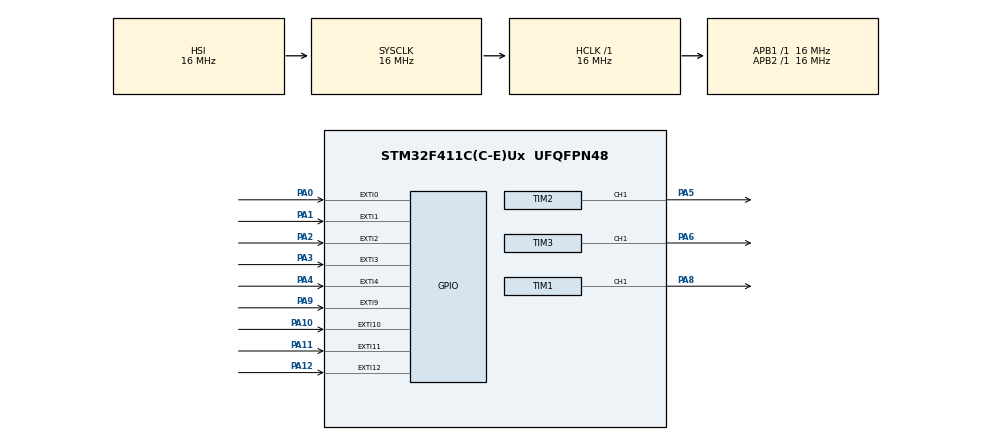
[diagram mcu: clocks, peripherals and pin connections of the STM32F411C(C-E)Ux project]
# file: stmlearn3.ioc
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Mcu.Family=STM32F4
Mcu.Name=STM32F411C(C-E)Ux
Mcu.Package=UFQFPN48
NVIC.EXTI0_IRQn=true\:0\:0\:false\:false\:true\:true\:true\:true
NVIC.EXTI15_10_IRQn=true\:0\:0\:false\:false\:true\:true\:true\:true
NVIC.EXTI1_IRQn=true\:0\:0\:false\:false\:true\:true\:true\:true
NVIC.EXTI2_IRQn=true\:0\:0\:false\:false\:true\:true\:true\:true
NVIC.EXTI3_IRQn=true\:0\:0\:false\:false\:true\:true\:true\:true
NVIC.EXTI4_IRQn=true\:0\:0\:false\:false\:true\:true\:true\:true
NVIC.EXTI9_5_IRQn=true\:0\:0\:false\:false\:true\:true\:true\:true
NVIC.PriorityGroup=NVIC_PRIORITYGROUP_4
PA0-WKUP.GPIO_ModeDefaultEXTI=GPIO_MODE_IT_RISING_FALLING
PA0-WKUP.GPIO_PuPd=GPIO_PULLUP
PA0-WKUP.Signal=GPXTI0
PA1.GPIO_ModeDefaultEXTI=GPIO_MODE_IT_RISING_FALLING
PA1.GPIO_PuPd=GPIO_PULLUP
PA1.Signal=GPXTI1
PA10.GPIO_ModeDefaultEXTI=GPIO_MODE_IT_FALLING
PA10.GPIO_PuPd=GPIO_PULLUP
PA10.Signal=GPXTI10
PA11.GPIO_ModeDefaultEXTI=GPIO_MODE_IT_RISING_FALLING
PA11.GPIO_PuPd=GPIO_PULLUP
PA11.Signal=GPXTI11
PA12.GPIO_ModeDefaultEXTI=GPIO_MODE_IT_RISING_FALLING
PA12.GPIO_PuPd=GPIO_PULLUP
PA12.Signal=GPXTI12
PA13.Mode=Serial_Wire
PA13.Signal=SYS_JTMS-SWDIO
PA14.Mode=Serial_Wire
PA14.Signal=SYS_JTCK-SWCLK
PA2.GPIO_ModeDefaultEXTI=GPIO_MODE_IT_RISING_FALLING
PA2.GPIO_PuPd=GPIO_PULLUP
PA2.Signal=GPXTI2
PA3.GPIO_ModeDefaultEXTI=GPIO_MODE_IT_RISING_FALLING
PA3.GPIO_PuPd=GPIO_PULLUP
PA3.Signal=GPXTI3
PA4.GPIO_ModeDefaultEXTI=GPIO_MODE_IT_RISING_FALLING
PA4.GPIO_PuPd=GPIO_PULLUP
PA4.Signal=GPXTI4
PA5.Signal=S_TIM2_CH1_ETR
PA6.Signal=S_TIM3_CH1
PA8.Signal=S_TIM1_CH1
PA9.GPIO_ModeDefaultEXTI=GPIO_MODE_IT_RISING_FALLING
PA9.GPIO_PuPd=GPIO_PULLUP
PA9.Signal=GPXTI9
ProjectManager.HeapSize=0x200
ProjectManager.StackSize=0x400
ProjectManager.TargetToolchain=MDK-ARM V5.32
RCC.AHBFreq_Value=16000000
RCC.APB1Freq_Value=16000000
RCC.APB2Freq_Value=16000000
RCC.CortexFreq_Value=16000000
RCC.HSE_VALUE=25000000
RCC.HSI_VALUE=16000000
RCC.LSE_VALUE=32768
RCC.SYSCLKFreq_VALUE=16000000
RCC.VCOOutputFreq_Value=192000000
SH.S_TIM1_CH1.0=TIM1_CH1,PWM Generation1 CH1
SH.S_TIM2_CH1_ETR.0=TIM2_CH1,PWM Generation1 CH1
SH.S_TIM3_CH1.0=TIM3_CH1,PWM Generation1 CH1
TIM1.AutoReloadPreload=TIM_AUTORELOAD_PRELOAD_ENABLE
TIM1.Channel-PWM\ Generation1\ CH1=TIM_CHANNEL_1
TIM1.Period=999
TIM1.Prescaler=15
TIM1.Pulse-PWM\ Generation1\ CH1=500
TIM2.AutoReloadPreload=TIM_AUTORELOAD_PRELOAD_ENABLE
TIM2.Channel-PWM\ Generation1\ CH1=TIM_CHANNEL_1
TIM2.Period=999
TIM2.Prescaler=15
TIM2.Pulse-PWM\ Generation1\ CH1=500
TIM3.AutoReloadPreload=TIM_AUTORELOAD_PRELOAD_ENABLE
TIM3.Channel-PWM\ Generation1\ CH1=TIM_CHANNEL_1
TIM3.Period=999
TIM3.Prescaler=15
TIM3.Pulse-PWM\ Generation1\ CH1=500
VP_TIM1_VS_ClockSourceINT.Mode=Internal
VP_TIM2_VS_ClockSourceINT.Mode=Internal
VP_TIM3_VS_ClockSourceINT.Mode=Internal
board=custom

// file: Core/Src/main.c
/* USER CODE BEGIN Header */
/**
  ******************************************************************************
  * @file           : main.c
  * @brief          : Main program body
  ******************************************************************************
  * @attention
  *
  * Copyright (c) 2026 STMicroelectronics.
  * All rights reserved.
  *
  * This software is licensed under terms that can be found in the LICENSE file
  * in the root directory of this software component.
  * If no LICENSE file comes with this software, it is provided AS-IS.
  *
  ******************************************************************************
  */
/* USER CODE END Header */
#include "main.h"

TIM_HandleTypeDef htim1;
TIM_HandleTypeDef htim2;
TIM_HandleTypeDef htim3;

/* USER CODE BEGIN PV */
int p=0;
int q=0;
/* USER CODE END PV */

void SystemClock_Config(void);
static void MX_GPIO_Init(void);
static void MX_TIM1_Init(void);
static void MX_TIM2_Init(void);
static void MX_TIM3_Init(void);

/* USER CODE BEGIN 0 */
//by gala
void Buzzer_SetFreq(uint16_t freq , TIM_HandleTypeDef *htim)
{
    if (freq == 0) {
        //
        HAL_TIM_PWM_Stop(htim,TIM_CHANNEL_1);
        return;
    }
    // 1.
    uint32_t arr = 1000000 / freq;
    // 2.
    if (arr > 65536) arr = 65536;
    if (arr < 2) arr = 2;
    // 3.
    __HAL_TIM_SET_AUTORELOAD(htim, arr - 1);
    // 4.
    __HAL_TIM_SET_COMPARE(htim,TIM_CHANNEL_1, arr / 2);

//    HAL_TIM_PWM_Start(htim, TIM_CHANNEL_1);
}

void HAL_GPIO_EXTI_Callback(uint16_t GPIO_Pin) {

	uint16_t m = GPIO_Pin;
	switch (GPIO_Pin) {
		case GPIO_PIN_12:
			q++;
			if (q>=2048) {q=q-2048;}
			break;
		case GPIO_PIN_10:
			p++;
			if (p>=2048) {p=p-2048;}
			break;
		case GPIO_PIN_0:
		case GPIO_PIN_1:
		case GPIO_PIN_2:
		case GPIO_PIN_3:
		case GPIO_PIN_4:
		case GPIO_PIN_9:
		case GPIO_PIN_11:
			if (p%2==0 ){
				switch (GPIO_Pin) {
					case GPIO_PIN_0:
						Buzzer_SetFreq(523 , &htim1);
						Buzzer_SetFreq(330 , &htim2);
						Buzzer_SetFreq(392 , &htim3);
						break;
					case GPIO_PIN_1:
						Buzzer_SetFreq(294 , &htim1);
						Buzzer_SetFreq(349 , &htim2);
						Buzzer_SetFreq(440 , &htim3);
						break;
					case GPIO_PIN_2:
						Buzzer_SetFreq(330 , &htim1);
						Buzzer_SetFreq(392 , &htim2);
						Buzzer_SetFreq(494 , &htim3);
						break;
					case GPIO_PIN_3:
						Buzzer_SetFreq(349 , &htim1);
						Buzzer_SetFreq(440 , &htim2);
						Buzzer_SetFreq(523 , &htim3);
						break;
					case GPIO_PIN_4:
						Buzzer_SetFreq(392 , &htim1);
						Buzzer_SetFreq(494 , &htim2);
						Buzzer_SetFreq(587 , &htim3);
						break;
					case GPIO_PIN_9:
						Buzzer_SetFreq(440 , &htim1);
						Buzzer_SetFreq(262 , &htim2);
						Buzzer_SetFreq(330 , &htim3);
						break;
					case GPIO_PIN_11:
						Buzzer_SetFreq(494 , &htim1);
						Buzzer_SetFreq(294 , &htim2);
						Buzzer_SetFreq(370 , &htim3);
						break;
					default:
						break;

				}

			}
			else {
				if( q%2==0 ) {
					switch (GPIO_Pin) {
						case GPIO_PIN_0:
							Buzzer_SetFreq(262 , &htim1);
							Buzzer_SetFreq(262 , &htim2);
							Buzzer_SetFreq(262 , &htim3);
							break;
						case GPIO_PIN_1:
							Buzzer_SetFreq(294 , &htim1);
							Buzzer_SetFreq(294 , &htim2);
							Buzzer_SetFreq(294 , &htim3);
							break;
						case GPIO_PIN_2:
							Buzzer_SetFreq(330 , &htim1);
							Buzzer_SetFreq(330 , &htim2);
							Buzzer_SetFreq(330 , &htim3);
							break;
						case GPIO_PIN_3:
							Buzzer_SetFreq(349 , &htim1);
							Buzzer_SetFreq(349 , &htim2);
							Buzzer_SetFreq(349 , &htim3);
							break;
						case GPIO_PIN_4:
							Buzzer_SetFreq(392 , &htim1);
							Buzzer_SetFreq(392 , &htim2);
							Buzzer_SetFreq(392 , &htim3);
							break;
						case GPIO_PIN_9:
							Buzzer_SetFreq(440 , &htim1);
							Buzzer_SetFreq(440 , &htim2);
							Buzzer_SetFreq(440 , &htim3);
							break;
						case GPIO_PIN_11:
							Buzzer_SetFreq(494 , &htim1);
							Buzzer_SetFreq(494 , &htim2);
							Buzzer_SetFreq(494 , &htim3);
							break;
						default:
							break;

					}
				}
				else {
					switch (GPIO_Pin) {
						case GPIO_PIN_0:
							Buzzer_SetFreq(523 , &htim1);
							Buzzer_SetFreq(523 , &htim2);
							Buzzer_SetFreq(523 , &htim3);
							break;
						case GPIO_PIN_1:
							Buzzer_SetFreq(587 , &htim1);
							Buzzer_SetFreq(587 , &htim2);
							Buzzer_SetFreq(587 , &htim3);
							break;
						case GPIO_PIN_2:
							Buzzer_SetFreq(659 , &htim1);
							Buzzer_SetFreq(659 , &htim2);
							Buzzer_SetFreq(659 , &htim3);
							break;
						case GPIO_PIN_3:
							Buzzer_SetFreq(699 , &htim1);
							Buzzer_SetFreq(699 , &htim2);
							Buzzer_SetFreq(699 , &htim3);
							break;
						case GPIO_PIN_4:
							Buzzer_SetFreq(784 , &htim1);
							Buzzer_SetFreq(784 , &htim2);
							Buzzer_SetFreq(784 , &htim3);
							break;
						case GPIO_PIN_9:
							Buzzer_SetFreq(880 , &htim1);
							Buzzer_SetFreq(880 , &htim2);
							Buzzer_SetFreq(880 , &htim3);
							break;
						case GPIO_PIN_11:
							Buzzer_SetFreq(989 , &htim1);
							Buzzer_SetFreq(989 , &htim2);
							Buzzer_SetFreq(989 , &htim3);
							break;
						default:
							break;

					}
				}

			}

			if (HAL_GPIO_ReadPin(GPIOA,m) == GPIO_PIN_RESET) {
					HAL_TIM_PWM_Start(&htim1, TIM_CHANNEL_1);
					HAL_TIM_PWM_Start(&htim2, TIM_CHANNEL_1);
					HAL_TIM_PWM_Start(&htim3, TIM_CHANNEL_1);
				}
			else {
					HAL_TIM_PWM_Stop(&htim1, TIM_CHANNEL_1);
					HAL_TIM_PWM_Stop(&htim2, TIM_CHANNEL_1);
					HAL_TIM_PWM_Stop(&htim3, TIM_CHANNEL_1);
				}
			break;

	}

}

/* USER CODE END 0 */

int main(void)
{

  /* MCU Configuration--------------------------------------------------------*/

  /* Reset of all peripherals, Initializes the Flash interface and the Systick. */
  HAL_Init();

  /* Configure the system clock */
  SystemClock_Config();

  /* Initialize all configured peripherals */
  MX_GPIO_Init();
  MX_TIM1_Init();
  MX_TIM2_Init();
  MX_TIM3_Init();

  /* Infinite loop */
  while (1)
  {

  }
}

void SystemClock_Config(void)
{
  RCC_OscInitTypeDef RCC_OscInitStruct = {0};
  RCC_ClkInitTypeDef RCC_ClkInitStruct = {0};

  /** Configure the main internal regulator output voltage
  */
  __HAL_RCC_PWR_CLK_ENABLE();
  __HAL_PWR_VOLTAGESCALING_CONFIG(PWR_REGULATOR_VOLTAGE_SCALE1);

  /** Initializes the RCC Oscillators according to the specified parameters
  * in the RCC_OscInitTypeDef structure.
  */
  RCC_OscInitStruct.OscillatorType = RCC_OSCILLATORTYPE_HSI;
  RCC_OscInitStruct.HSIState = RCC_HSI_ON;
  RCC_OscInitStruct.HSICalibrationValue = RCC_HSICALIBRATION_DEFAULT;
  RCC_OscInitStruct.PLL.PLLState = RCC_PLL_NONE;
  if (HAL_RCC_OscConfig(&RCC_OscInitStruct) != HAL_OK)
  {
    Error_Handler();
  }

  /** Initializes the CPU, AHB and APB buses clocks
  */
  RCC_ClkInitStruct.ClockType = RCC_CLOCKTYPE_HCLK|RCC_CLOCKTYPE_SYSCLK
                              |RCC_CLOCKTYPE_PCLK1|RCC_CLOCKTYPE_PCLK2;
  RCC_ClkInitStruct.SYSCLKSource = RCC_SYSCLKSOURCE_HSI;
  RCC_ClkInitStruct.AHBCLKDivider = RCC_SYSCLK_DIV1;
  RCC_ClkInitStruct.APB1CLKDivider = RCC_HCLK_DIV1;
  RCC_ClkInitStruct.APB2CLKDivider = RCC_HCLK_DIV1;

  if (HAL_RCC_ClockConfig(&RCC_ClkInitStruct, FLASH_LATENCY_0) != HAL_OK)
  {
    Error_Handler();
  }
}

static void MX_TIM1_Init(void)
{

  TIM_ClockConfigTypeDef sClockSourceConfig = {0};
  TIM_MasterConfigTypeDef sMasterConfig = {0};
  TIM_OC_InitTypeDef sConfigOC = {0};
  TIM_BreakDeadTimeConfigTypeDef sBreakDeadTimeConfig = {0};

  htim1.Instance = TIM1;
  htim1.Init.Prescaler = 15;
  htim1.Init.CounterMode = TIM_COUNTERMODE_UP;
  htim1.Init.Period = 999;
  htim1.Init.ClockDivision = TIM_CLOCKDIVISION_DIV1;
  htim1.Init.RepetitionCounter = 0;
  htim1.Init.AutoReloadPreload = TIM_AUTORELOAD_PRELOAD_ENABLE;
  if (HAL_TIM_Base_Init(&htim1) != HAL_OK)
  {
    Error_Handler();
  }
  sClockSourceConfig.ClockSource = TIM_CLOCKSOURCE_INTERNAL;
  if (HAL_TIM_ConfigClockSource(&htim1, &sClockSourceConfig) != HAL_OK)
  {
    Error_Handler();
  }
  if (HAL_TIM_PWM_Init(&htim1) != HAL_OK)
  {
    Error_Handler();
  }
  sMasterConfig.MasterOutputTrigger = TIM_TRGO_RESET;
  sMasterConfig.MasterSlaveMode = TIM_MASTERSLAVEMODE_DISABLE;
  if (HAL_TIMEx_MasterConfigSynchronization(&htim1, &sMasterConfig) != HAL_OK)
  {
    Error_Handler();
  }
  sConfigOC.OCMode = TIM_OCMODE_PWM1;
  sConfigOC.Pulse = 500;
  sConfigOC.OCPolarity = TIM_OCPOLARITY_HIGH;
  sConfigOC.OCNPolarity = TIM_OCNPOLARITY_HIGH;
  sConfigOC.OCFastMode = TIM_OCFAST_DISABLE;
  sConfigOC.OCIdleState = TIM_OCIDLESTATE_RESET;
  sConfigOC.OCNIdleState = TIM_OCNIDLESTATE_RESET;
  if (HAL_TIM_PWM_ConfigChannel(&htim1, &sConfigOC, TIM_CHANNEL_1) != HAL_OK)
  {
    Error_Handler();
  }
  sBreakDeadTimeConfig.OffStateRunMode = TIM_OSSR_DISABLE;
  sBreakDeadTimeConfig.OffStateIDLEMode = TIM_OSSI_DISABLE;
  sBreakDeadTimeConfig.LockLevel = TIM_LOCKLEVEL_OFF;
  sBreakDeadTimeConfig.DeadTime = 0;
  sBreakDeadTimeConfig.BreakState = TIM_BREAK_DISABLE;
  sBreakDeadTimeConfig.BreakPolarity = TIM_BREAKPOLARITY_HIGH;
  sBreakDeadTimeConfig.AutomaticOutput = TIM_AUTOMATICOUTPUT_DISABLE;
  if (HAL_TIMEx_ConfigBreakDeadTime(&htim1, &sBreakDeadTimeConfig) != HAL_OK)
  {
    Error_Handler();
  }
  HAL_TIM_MspPostInit(&htim1);

}

static void MX_TIM2_Init(void)
{

  TIM_ClockConfigTypeDef sClockSourceConfig = {0};
  TIM_MasterConfigTypeDef sMasterConfig = {0};
  TIM_OC_InitTypeDef sConfigOC = {0};

  htim2.Instance = TIM2;
  htim2.Init.Prescaler = 15;
  htim2.Init.CounterMode = TIM_COUNTERMODE_UP;
  htim2.Init.Period = 999;
  htim2.Init.ClockDivision = TIM_CLOCKDIVISION_DIV1;
  htim2.Init.AutoReloadPreload = TIM_AUTORELOAD_PRELOAD_ENABLE;
  if (HAL_TIM_Base_Init(&htim2) != HAL_OK)
  {
    Error_Handler();
  }
  sClockSourceConfig.ClockSource = TIM_CLOCKSOURCE_INTERNAL;
  if (HAL_TIM_ConfigClockSource(&htim2, &sClockSourceConfig) != HAL_OK)
  {
    Error_Handler();
  }
  if (HAL_TIM_PWM_Init(&htim2) != HAL_OK)
  {
    Error_Handler();
  }
  sMasterConfig.MasterOutputTrigger = TIM_TRGO_RESET;
  sMasterConfig.MasterSlaveMode = TIM_MASTERSLAVEMODE_DISABLE;
  if (HAL_TIMEx_MasterConfigSynchronization(&htim2, &sMasterConfig) != HAL_OK)
  {
    Error_Handler();
  }
  sConfigOC.OCMode = TIM_OCMODE_PWM1;
  sConfigOC.Pulse = 500;
  sConfigOC.OCPolarity = TIM_OCPOLARITY_HIGH;
  sConfigOC.OCFastMode = TIM_OCFAST_DISABLE;
  if (HAL_TIM_PWM_ConfigChannel(&htim2, &sConfigOC, TIM_CHANNEL_1) != HAL_OK)
  {
    Error_Handler();
  }
  HAL_TIM_MspPostInit(&htim2);

}

static void MX_TIM3_Init(void)
{

  TIM_ClockConfigTypeDef sClockSourceConfig = {0};
  TIM_MasterConfigTypeDef sMasterConfig = {0};
  TIM_OC_InitTypeDef sConfigOC = {0};

  htim3.Instance = TIM3;
  htim3.Init.Prescaler = 15;
  htim3.Init.CounterMode = TIM_COUNTERMODE_UP;
  htim3.Init.Period = 999;
  htim3.Init.ClockDivision = TIM_CLOCKDIVISION_DIV1;
  htim3.Init.AutoReloadPreload = TIM_AUTORELOAD_PRELOAD_ENABLE;
  if (HAL_TIM_Base_Init(&htim3) != HAL_OK)
  {
    Error_Handler();
  }
  sClockSourceConfig.ClockSource = TIM_CLOCKSOURCE_INTERNAL;
  if (HAL_TIM_ConfigClockSource(&htim3, &sClockSourceConfig) != HAL_OK)
  {
    Error_Handler();
  }
  if (HAL_TIM_PWM_Init(&htim3) != HAL_OK)
  {
    Error_Handler();
  }
  sMasterConfig.MasterOutputTrigger = TIM_TRGO_RESET;
  sMasterConfig.MasterSlaveMode = TIM_MASTERSLAVEMODE_DISABLE;
  if (HAL_TIMEx_MasterConfigSynchronization(&htim3, &sMasterConfig) != HAL_OK)
  {
    Error_Handler();
  }
  sConfigOC.OCMode = TIM_OCMODE_PWM1;
  sConfigOC.Pulse = 500;
  sConfigOC.OCPolarity = TIM_OCPOLARITY_HIGH;
  sConfigOC.OCFastMode = TIM_OCFAST_DISABLE;
  if (HAL_TIM_PWM_ConfigChannel(&htim3, &sConfigOC, TIM_CHANNEL_1) != HAL_OK)
  {
    Error_Handler();
  }
  HAL_TIM_MspPostInit(&htim3);

}

static void MX_GPIO_Init(void)
{
  GPIO_InitTypeDef GPIO_InitStruct = {0};

  /* GPIO Ports Clock Enable */
  __HAL_RCC_GPIOA_CLK_ENABLE();

  /*Configure GPIO pins : PA0 PA1 PA2 PA3
                           PA4 PA9 PA11 PA12 */
  GPIO_InitStruct.Pin = GPIO_PIN_0|GPIO_PIN_1|GPIO_PIN_2|GPIO_PIN_3
                          |GPIO_PIN_4|GPIO_PIN_9|GPIO_PIN_11|GPIO_PIN_12;
  GPIO_InitStruct.Mode = GPIO_MODE_IT_RISING_FALLING;
  GPIO_InitStruct.Pull = GPIO_PULLUP;
  HAL_GPIO_Init(GPIOA, &GPIO_InitStruct);

  /*Configure GPIO pin : PA10 */
  GPIO_InitStruct.Pin = GPIO_PIN_10;
  GPIO_InitStruct.Mode = GPIO_MODE_IT_FALLING;
  GPIO_InitStruct.Pull = GPIO_PULLUP;
  HAL_GPIO_Init(GPIOA, &GPIO_InitStruct);

  /* EXTI interrupt init*/
  HAL_NVIC_SetPriority(EXTI0_IRQn, 0, 0);
  HAL_NVIC_EnableIRQ(EXTI0_IRQn);

  HAL_NVIC_SetPriority(EXTI1_IRQn, 0, 0);
  HAL_NVIC_EnableIRQ(EXTI1_IRQn);

  HAL_NVIC_SetPriority(EXTI2_IRQn, 0, 0);
  HAL_NVIC_EnableIRQ(EXTI2_IRQn);

  HAL_NVIC_SetPriority(EXTI3_IRQn, 0, 0);
  HAL_NVIC_EnableIRQ(EXTI3_IRQn);

  HAL_NVIC_SetPriority(EXTI4_IRQn, 0, 0);
  HAL_NVIC_EnableIRQ(EXTI4_IRQn);

  HAL_NVIC_SetPriority(EXTI9_5_IRQn, 0, 0);
  HAL_NVIC_EnableIRQ(EXTI9_5_IRQn);

  HAL_NVIC_SetPriority(EXTI15_10_IRQn, 0, 0);
  HAL_NVIC_EnableIRQ(EXTI15_10_IRQn);

}

void Error_Handler(void)
{
  __disable_irq();
  while (1)
  {
  }
}
